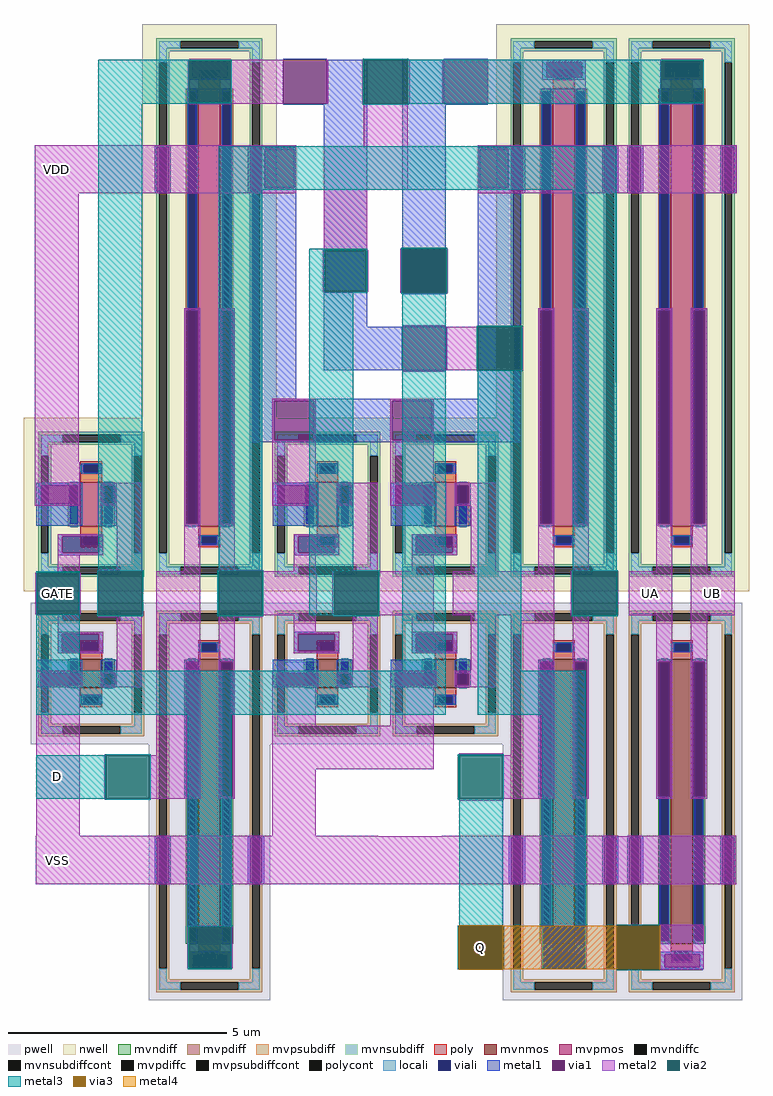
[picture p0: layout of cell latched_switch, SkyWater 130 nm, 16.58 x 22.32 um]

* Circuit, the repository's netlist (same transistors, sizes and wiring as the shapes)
* NGSPICE file created from latched_switch.ext - technology: sky130A

.subckt sky130_fd_pr__nfet_g5v0d10v5_TMGAGH a_n50_n738# a_50_n650# a_n242_n872# a_n108_n650#
X0 a_50_n650# a_n50_n738# a_n108_n650# a_n242_n872# sky130_fd_pr__nfet_g5v0d10v5 ad=1.885 pd=13.58 as=1.885 ps=13.58 w=6.5 l=0.5
.ends

.subckt sky130_fd_pr__pfet_g5v0d10v5_KLP5N5 a_n108_n1000# a_n50_n1097# a_50_n1000#
+ w_n308_n1297#
X0 a_50_n1000# a_n50_n1097# a_n108_n1000# w_n308_n1297# sky130_fd_pr__pfet_g5v0d10v5 ad=2.9 pd=20.58 as=2.9 ps=20.58 w=10 l=0.5
.ends

.subckt pass_gate VDD ENB UA UB EN VSS
XXM1 EN UB VSS UA sky130_fd_pr__nfet_g5v0d10v5_TMGAGH
XXM2 UA ENB UB VDD sky130_fd_pr__pfet_g5v0d10v5_KLP5N5
.ends

.subckt sky130_fd_pr__nfet_g5v0d10v5_CYDA8L a_n108_n65# a_n50_n153# a_n242_n287# a_50_n65#
X0 a_50_n65# a_n50_n153# a_n108_n65# a_n242_n287# sky130_fd_pr__nfet_g5v0d10v5 ad=0.1885 pd=1.88 as=0.1885 ps=1.88 w=0.65 l=0.5
.ends

.subckt sky130_fd_pr__pfet_g5v0d10v5_KLAZY6 a_n50_n197# a_50_n100# w_n308_n397# a_n108_n100#
X0 a_50_n100# a_n50_n197# a_n108_n100# w_n308_n397# sky130_fd_pr__pfet_g5v0d10v5 ad=0.29 pd=2.58 as=0.29 ps=2.58 w=1 l=0.5
.ends

.subckt inverter VDD IN OUT VSS
XXM1 VSS IN VSS OUT sky130_fd_pr__nfet_g5v0d10v5_CYDA8L
XXM2 IN OUT VDD VDD sky130_fd_pr__pfet_g5v0d10v5_KLAZY6
.ends

.subckt latch Q QB GATEB D GATE VDD VSS
Xx1 VDD GATEB D x3/IN GATE VSS pass_gate
Xx2 VDD GATE Q x3/IN GATEB VSS pass_gate
Xx3 VDD x3/IN QB VSS inverter
Xx4 VDD QB Q VSS inverter
.ends

.subckt latched_switch VDD Q D GATE UB UA VSS
Xx1 VDD x2/QB UA UB Q VSS pass_gate
Xx2 Q x2/QB x3/OUT D GATE VDD VSS latch
Xx3 VDD GATE x3/OUT VSS inverter
.ends

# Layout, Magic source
magic
tech sky130A
magscale 1 2
<< metal2 >>
rect 755 4295 945 4304
rect 755 4096 945 4105
rect 1546 4100 1555 4300
rect 1755 4100 1764 4300
rect 2915 4295 3105 4304
rect 2915 4096 3105 4105
rect 50 3690 1100 3910
rect 2215 3690 3260 3910
rect 50 3689 930 3690
rect 50 2260 250 3689
rect 340 1960 540 1969
rect 51 1765 60 1955
rect 250 1765 259 1955
rect 340 1751 540 1760
rect 55 752 255 1505
rect 606 1120 806 1960
rect 2765 1760 2965 1960
rect 3050 1760 3250 1960
rect 366 920 375 1120
rect 575 920 806 1120
rect 54 750 930 752
rect 54 530 1100 750
rect 2210 530 3255 750
rect 54 529 930 530
rect 2714 340 3105 344
rect 2713 335 3110 340
rect 2713 145 2714 335
rect 2904 145 3110 335
rect 2713 140 3110 145
rect 2714 136 3105 140
<< via2 >>
rect 755 4105 945 4295
rect 1555 4100 1755 4300
rect 2915 4105 3105 4295
rect 60 1765 250 1955
rect 340 1760 540 1960
rect 375 920 575 1120
rect 755 145 945 335
rect 1995 145 2185 335
rect 2714 145 2904 335
<< metal3 >>
rect 1550 4300 1760 4305
rect 340 4295 950 4300
rect 340 4105 755 4295
rect 945 4105 950 4295
rect 340 4100 950 4105
rect 1550 4100 1555 4300
rect 1755 4295 3110 4300
rect 1755 4105 2915 4295
rect 3105 4105 3110 4295
rect 1755 4100 3110 4105
rect 340 1965 540 4100
rect 1550 4095 1760 4100
rect 335 1960 545 1965
rect 55 1955 255 1960
rect 55 1765 60 1955
rect 250 1765 255 1955
rect 55 1505 255 1765
rect 335 1760 340 1960
rect 540 1760 545 1960
rect 335 1755 545 1760
rect 55 1305 950 1505
rect 370 1120 580 1125
rect 55 920 375 1120
rect 575 920 580 1120
rect 370 915 580 920
rect 750 335 950 1305
rect 2710 340 2908 345
rect 750 145 755 335
rect 945 145 950 335
rect 750 140 950 145
rect 1984 140 1990 340
rect 2190 140 2196 340
rect 2709 339 2909 340
rect 2709 141 2710 339
rect 2908 141 2909 339
rect 2709 140 2909 141
rect 2710 135 2908 140
<< via3 >>
rect 1990 335 2190 340
rect 1990 145 1995 335
rect 1995 145 2185 335
rect 2185 145 2190 335
rect 1990 140 2190 145
rect 2710 335 2908 339
rect 2710 145 2714 335
rect 2714 145 2904 335
rect 2904 145 2908 335
rect 2710 141 2908 145
<< metal4 >>
rect 1989 340 2191 341
rect 1989 140 1990 340
rect 2190 339 2909 340
rect 2190 141 2710 339
rect 2908 141 2909 339
rect 2190 140 2909 141
rect 1989 139 2191 140
use pass_gate  x1
transform 1 0 2700 0 1 0
box 0 0 616 4464
use latch  x2
transform 1 0 540 0 1 0
box 0 0 2236 4464
use inverter  x3
transform 1 0 0 0 1 1170
box 0 0 616 1494
<< labels >>
flabel metal2 50 3700 250 3900 0 FreeSans 256 0 0 0 VDD
port 1 nsew
flabel metal2 55 540 255 740 0 FreeSans 256 0 0 0 VSS
port 7 nsew
flabel metal3 55 1760 255 1960 0 FreeSans 256 0 0 0 GATE
port 4 nsew
flabel metal3 55 920 255 1120 0 FreeSans 256 0 0 0 D
port 3 nsew
flabel metal2 2765 1760 2965 1960 0 FreeSans 256 0 0 0 UA
port 6 nsew
flabel metal2 3050 1760 3250 1960 0 FreeSans 256 0 0 0 UB
port 5 nsew
flabel metal4 1990 140 2190 340 0 FreeSans 256 0 0 0 Q
port 2 nsew
<< end >>

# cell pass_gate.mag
magic
tech sky130A
magscale 1 2
<< locali >>
rect 210 4210 410 4300
rect 210 140 410 220
<< viali >>
rect 78 3699 112 3900
rect 504 3699 538 3900
rect 78 539 112 742
rect 504 539 538 742
<< metal1 >>
rect 210 4290 410 4300
rect 210 4220 230 4290
rect 390 4220 410 4290
rect 210 4210 410 4220
rect 58 3900 132 3910
rect 58 3699 68 3900
rect 122 3699 132 3900
rect 58 3689 132 3699
rect 484 3900 558 3910
rect 484 3699 494 3900
rect 548 3699 558 3900
rect 484 3689 558 3699
rect 192 3155 266 3165
rect 192 2179 202 3155
rect 256 2179 266 3155
rect 192 2169 266 2179
rect 350 3155 424 3165
rect 350 2179 360 3155
rect 414 2179 424 3155
rect 350 2169 424 2179
rect 192 1546 266 1556
rect 192 930 202 1546
rect 256 930 266 1546
rect 192 920 266 930
rect 350 1546 424 1556
rect 350 930 360 1546
rect 414 930 424 1546
rect 350 920 424 930
rect 58 742 132 752
rect 58 539 68 742
rect 122 539 132 742
rect 58 529 132 539
rect 484 742 558 752
rect 484 539 494 742
rect 548 539 558 742
rect 484 529 558 539
rect 210 210 410 220
rect 210 150 230 210
rect 390 150 410 210
rect 210 140 410 150
<< via1 >>
rect 230 4220 390 4290
rect 68 3699 78 3900
rect 78 3699 112 3900
rect 112 3699 122 3900
rect 494 3699 504 3900
rect 504 3699 538 3900
rect 538 3699 548 3900
rect 202 2179 256 3155
rect 360 2179 414 3155
rect 202 930 256 1546
rect 360 930 414 1546
rect 68 539 78 742
rect 78 539 112 742
rect 112 539 122 742
rect 494 539 504 742
rect 504 539 538 742
rect 538 539 548 742
rect 230 150 390 210
<< metal2 >>
rect 210 4290 410 4300
rect 210 4220 230 4290
rect 390 4220 410 4290
rect 210 4100 410 4220
rect 58 3900 558 3910
rect 58 3699 68 3900
rect 122 3699 494 3900
rect 548 3699 558 3900
rect 58 3689 558 3699
rect 192 3155 266 3165
rect 192 2179 202 3155
rect 256 2179 266 3155
rect 192 1960 266 2179
rect 65 1760 266 1960
rect 192 1546 266 1760
rect 192 930 202 1546
rect 256 930 266 1546
rect 192 920 266 930
rect 350 3155 424 3165
rect 350 2179 360 3155
rect 414 2179 424 3155
rect 350 1960 424 2179
rect 350 1760 550 1960
rect 350 1546 424 1760
rect 350 930 360 1546
rect 414 930 424 1546
rect 350 920 424 930
rect 58 742 558 752
rect 58 539 68 742
rect 122 539 494 742
rect 548 539 558 742
rect 58 529 558 539
rect 210 210 410 340
rect 210 150 230 210
rect 390 150 410 210
rect 210 140 410 150
use sky130_fd_pr__nfet_g5v0d10v5_TMGAGH  XM1
transform 1 0 308 0 1 908
box -278 -908 278 908
use sky130_fd_pr__pfet_g5v0d10v5_KLP5N5  XM2
transform 1 0 308 0 1 3167
box -308 -1297 308 1297
<< labels >>
flabel metal2 210 140 410 340 0 FreeSans 256 0 0 0 EN
port 5 nsew
flabel metal2 210 4100 410 4300 0 FreeSans 256 0 0 0 ENB
port 2 nsew
flabel metal2 65 1760 265 1960 0 FreeSans 256 0 0 0 UA
port 3 nsew
flabel metal2 350 1760 550 1960 0 FreeSans 256 0 0 0 UB
port 4 nsew
flabel metal2 210 540 410 740 0 FreeSans 256 0 0 0 VSS
port 6 nsew
flabel metal2 210 3700 410 3900 0 FreeSans 256 0 0 0 VDD
port 1 nsew
<< end >>

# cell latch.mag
magic
tech sky130A
magscale 1 2
<< metal1 >>
rect 645 4300 845 4306
rect 1380 4300 1580 4306
rect 845 4100 1030 4300
rect 645 4094 1030 4100
rect 505 3890 705 3900
rect 505 3715 560 3890
rect 695 3715 705 3890
rect 505 2750 705 3715
rect 830 3080 1030 4094
rect 1190 4100 1380 4300
rect 1190 4094 1580 4100
rect 1190 3435 1390 4094
rect 1190 3229 1390 3235
rect 1535 3890 1735 3900
rect 1535 3715 1545 3890
rect 1675 3715 1735 3890
rect 830 2880 1190 3080
rect 1390 2880 1396 3080
rect 1535 2750 1735 3715
rect 505 2740 1735 2750
rect 505 2560 605 2740
rect 785 2560 1145 2740
rect 1325 2560 1735 2740
rect 505 2550 1735 2560
<< via1 >>
rect 645 4100 845 4300
rect 560 3715 695 3890
rect 1380 4100 1580 4300
rect 1190 3235 1390 3435
rect 1545 3715 1675 3890
rect 1190 2880 1390 3080
rect 605 2560 785 2740
rect 1145 2560 1325 2740
<< metal2 >>
rect 210 4100 645 4300
rect 845 4100 851 4300
rect 55 3890 705 3910
rect 1015 3905 1215 4300
rect 1374 4100 1380 4300
rect 1580 4100 2030 4300
rect 55 3715 560 3890
rect 695 3715 705 3890
rect 55 3690 705 3715
rect 830 3705 1215 3905
rect 1535 3890 2180 3910
rect 1535 3715 1545 3890
rect 1675 3715 2180 3890
rect 830 3430 1030 3705
rect 1535 3690 2180 3715
rect 1750 3689 2180 3690
rect 826 3240 835 3430
rect 1025 3240 1034 3430
rect 830 3235 1030 3240
rect 1181 3235 1190 3435
rect 1390 3235 1399 3435
rect 1190 3080 1390 3086
rect 1390 2880 1535 3080
rect 1735 2880 1744 3080
rect 1190 2874 1390 2880
rect 595 2740 795 2750
rect 595 2560 605 2740
rect 785 2560 795 2740
rect 595 2260 795 2560
rect 1135 2740 1335 2750
rect 1135 2560 1145 2740
rect 1325 2560 1335 2740
rect 1135 2260 1335 2560
rect 350 1960 550 1969
rect 65 1760 265 1960
rect 550 1955 795 1960
rect 550 1766 799 1955
rect 550 1760 795 1766
rect 871 1760 880 1960
rect 1080 1760 1335 1960
rect 1420 1760 1886 1960
rect 1961 1760 1970 1960
rect 2170 1760 2179 1960
rect 350 1751 550 1760
rect 595 1255 795 1505
rect 1135 1255 1335 1505
rect 595 1055 1335 1255
rect 1450 1120 1650 1129
rect 1686 1120 1886 1760
rect 595 752 795 1055
rect 1650 920 1886 1120
rect 1450 911 1650 920
rect 59 750 1080 752
rect 1370 750 2176 752
rect 59 529 2176 750
rect 210 335 410 340
rect 1450 335 1650 340
rect 1830 335 2030 340
rect 206 145 215 335
rect 405 145 414 335
rect 1446 145 1455 335
rect 1645 145 1654 335
rect 1826 145 1835 335
rect 2025 145 2034 335
rect 210 140 410 145
rect 1450 140 1650 145
rect 1830 140 2030 145
<< via2 >>
rect 835 3240 1025 3430
rect 1190 3235 1390 3435
rect 1535 2880 1735 3080
rect 350 1760 550 1960
rect 880 1760 1080 1960
rect 1970 1760 2170 1960
rect 1450 920 1650 1120
rect 215 145 405 335
rect 1455 145 1645 335
rect 1835 145 2025 335
<< metal3 >>
rect 350 3904 1215 3905
rect 350 3705 2169 3904
rect 350 1965 550 3705
rect 1185 3435 1395 3440
rect 765 3430 1030 3435
rect 765 3240 835 3430
rect 1025 3240 1030 3430
rect 765 3235 1030 3240
rect 1185 3235 1190 3435
rect 1390 3235 1395 3435
rect 765 1965 965 3235
rect 1185 3230 1395 3235
rect 345 1960 555 1965
rect 345 1760 350 1960
rect 550 1760 555 1960
rect 765 1960 1085 1965
rect 765 1760 880 1960
rect 1080 1760 1085 1960
rect 345 1755 555 1760
rect 875 1755 1085 1760
rect 1190 1505 1390 3230
rect 1530 3080 1740 3085
rect 1530 2880 1535 3080
rect 1735 2880 1740 3080
rect 1530 2875 1740 2880
rect 210 1305 1390 1505
rect 1535 1505 1735 2875
rect 1970 2824 2169 3705
rect 1970 2676 2170 2824
rect 1971 1965 2170 2676
rect 1965 1960 2175 1965
rect 1965 1760 1970 1960
rect 2170 1760 2175 1960
rect 1965 1755 2175 1760
rect 1535 1305 2030 1505
rect 210 335 410 1305
rect 1445 1120 1655 1125
rect 1445 920 1450 1120
rect 1650 920 1655 1120
rect 1445 915 1655 920
rect 210 145 215 335
rect 405 145 410 335
rect 210 140 410 145
rect 1450 335 1650 915
rect 1450 145 1455 335
rect 1645 145 1650 335
rect 1450 140 1650 145
rect 1830 335 2030 1305
rect 1830 145 1835 335
rect 2025 145 2030 335
rect 1830 140 2030 145
use pass_gate  x1
transform 1 0 0 0 1 0
box 0 0 616 4464
use pass_gate  x2
transform 1 0 1620 0 1 0
box 0 0 616 4464
use inverter  x3
transform 1 0 540 0 1 1170
box 0 0 616 1494
use inverter  x4
transform 1 0 1080 0 1 1170
box 0 0 616 1494
<< labels >>
flabel metal2 210 540 410 740 0 FreeSans 256 0 0 0 VSS
port 7 nsew
flabel metal2 210 3700 410 3900 0 FreeSans 256 0 0 0 VDD
port 2 nsew
flabel metal2 210 140 410 340 0 FreeSans 256 0 0 0 GATE
port 6 nsew
flabel metal2 210 4100 410 4300 0 FreeSans 256 0 0 0 GATEB
port 4 nsew
flabel metal2 65 1760 265 1960 0 FreeSans 256 0 0 0 D
port 5 nsew
flabel metal2 1450 140 1650 340 0 FreeSans 256 0 0 0 Q
port 1 nsew
flabel metal2 1015 4100 1215 4300 0 FreeSans 256 0 0 0 QB
port 3 nsew
flabel metal2 1830 540 2030 740 0 FreeSans 256 0 0 0 VSS
port 7 nsew
flabel metal2 1830 3700 2030 3900 0 FreeSans 256 0 0 0 VDD
port 2 nsew
flabel metal2 1830 4100 2030 4300 0 FreeSans 256 0 0 0 GATE
port 6 nsew
flabel metal2 1830 140 2030 340 0 FreeSans 256 0 0 0 GATEB
port 4 nsew
<< end >>

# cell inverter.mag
magic
tech sky130A
magscale 1 2
<< locali >>
rect 67 999 246 1195
rect 175 875 342 950
rect 154 426 362 515
rect 77 270 246 376
<< metal1 >>
rect 57 1185 266 1195
rect 57 1100 80 1185
rect 245 1100 266 1185
rect 57 999 266 1100
rect 350 1185 424 1195
rect 350 1100 360 1185
rect 414 1100 424 1185
rect 350 999 424 1100
rect 155 950 362 960
rect 155 875 175 950
rect 342 875 362 950
rect 155 865 362 875
rect 154 505 362 515
rect 154 426 174 505
rect 342 426 362 505
rect 154 416 362 426
rect 57 325 266 386
rect 57 270 77 325
rect 256 270 266 325
rect 57 260 266 270
rect 350 325 424 386
rect 350 270 360 325
rect 414 270 424 325
rect 350 260 424 270
<< via1 >>
rect 80 1100 245 1185
rect 360 1100 414 1185
rect 175 875 342 950
rect 174 426 342 505
rect 77 270 256 325
rect 360 270 414 325
<< metal2 >>
rect 55 1185 255 1290
rect 55 1100 80 1185
rect 245 1100 255 1185
rect 55 1090 255 1100
rect 350 1185 539 1195
rect 350 1100 360 1185
rect 414 1100 539 1185
rect 350 1090 539 1100
rect 154 950 362 960
rect 154 875 175 950
rect 342 875 362 950
rect 154 865 362 875
rect 154 790 255 865
rect 424 790 539 1090
rect 55 590 255 790
rect 340 590 540 790
rect 154 515 255 590
rect 154 505 362 515
rect 154 426 174 505
rect 342 426 362 505
rect 154 416 362 426
rect 424 335 539 590
rect 55 325 266 335
rect 55 270 77 325
rect 256 270 266 325
rect 55 260 266 270
rect 350 325 539 335
rect 350 270 360 325
rect 414 270 539 325
rect 350 260 539 270
rect 55 135 255 260
use sky130_fd_pr__nfet_g5v0d10v5_CYDA8L  XM1
transform 1 0 308 0 1 323
box -278 -323 278 323
use sky130_fd_pr__pfet_g5v0d10v5_KLAZY6  XM2
transform 1 0 308 0 1 1097
box -308 -397 308 397
<< labels >>
flabel metal2 55 590 255 790 0 FreeSans 256 0 0 0 IN
port 2 nsew
flabel metal2 55 1090 255 1290 0 FreeSans 256 0 0 0 VDD
port 1 nsew
flabel metal2 55 135 255 335 0 FreeSans 256 0 0 0 VSS
port 4 nsew
flabel metal2 340 590 540 790 0 FreeSans 256 0 0 0 OUT
port 3 nsew
<< end >>

# cell sky130_fd_pr__nfet_g5v0d10v5_CYDA8L: kit device sky130_fd_pr__nfet_g5v0d10v5, w 0.65 l 0.5 m 1 nf 1 diffcov 100 polycov 100 guard 1 glc 1 grc 1 gtc 1 gbc 1 tbcov 100 rlcov 100 topc 1 botc 1 poverlap 0 doverlap 1 lmin 0.50 wmin 0.42 compatible {sky130_fd_pr__nfet_01v8 sky130_fd_pr__nfet_01v8_lvt sky130_fd_bs_flash__special_sonosfet_star sky130_fd_pr__nfet_g5v0d10v5 sky130_fd_pr__nfet_05v0_nvt sky130_fd_pr__nfet_03v3_nvt} full_metal 1 viasrc 100 viadrn 100 viagate 100 viagb 0 viagr 0 viagl 0 viagt 0

# cell sky130_fd_pr__pfet_g5v0d10v5_KLAZY6: kit device sky130_fd_pr__pfet_g5v0d10v5, w 1.0 l 0.5 m 1 nf 1 diffcov 100 polycov 100 guard 1 glc 1 grc 1 gtc 1 gbc 1 tbcov 100 rlcov 100 topc 1 botc 1 poverlap 0 doverlap 1 lmin 0.50 wmin 0.42 compatible {sky130_fd_pr__pfet_01v8 sky130_fd_pr__pfet_01v8_lvt sky130_fd_pr__pfet_01v8_hvt sky130_fd_pr__pfet_g5v0d10v5} full_metal 1 viasrc 100 viadrn 100 viagate 100 viagb 0 viagr 0 viagl 0 viagt 0

# cell sky130_fd_pr__nfet_g5v0d10v5_TMGAGH: kit device sky130_fd_pr__nfet_g5v0d10v5, w 6.5 l 0.5 m 1 nf 1 diffcov 100 polycov 100 guard 1 glc 1 grc 1 gtc 1 gbc 1 tbcov 100 rlcov 100 topc 1 botc 1 poverlap 0 doverlap 1 lmin 0.50 wmin 0.42 compatible {sky130_fd_pr__nfet_01v8 sky130_fd_pr__nfet_01v8_lvt sky130_fd_bs_flash__special_sonosfet_star sky130_fd_pr__nfet_g5v0d10v5 sky130_fd_pr__nfet_05v0_nvt sky130_fd_pr__nfet_03v3_nvt} full_metal 1 viasrc 100 viadrn 100 viagate 100 viagb 0 viagr 0 viagl 0 viagt 0

# cell sky130_fd_pr__pfet_g5v0d10v5_KLP5N5: kit device sky130_fd_pr__pfet_g5v0d10v5, w 10.0 l 0.5 m 1 nf 1 diffcov 100 polycov 100 guard 1 glc 1 grc 1 gtc 1 gbc 1 tbcov 100 rlcov 100 topc 1 botc 1 poverlap 0 doverlap 1 lmin 0.50 wmin 0.42 compatible {sky130_fd_pr__pfet_01v8 sky130_fd_pr__pfet_01v8_lvt sky130_fd_pr__pfet_01v8_hvt sky130_fd_pr__pfet_g5v0d10v5} full_metal 1 viasrc 100 viadrn 100 viagate 100 viagb 0 viagr 0 viagl 0 viagt 0
